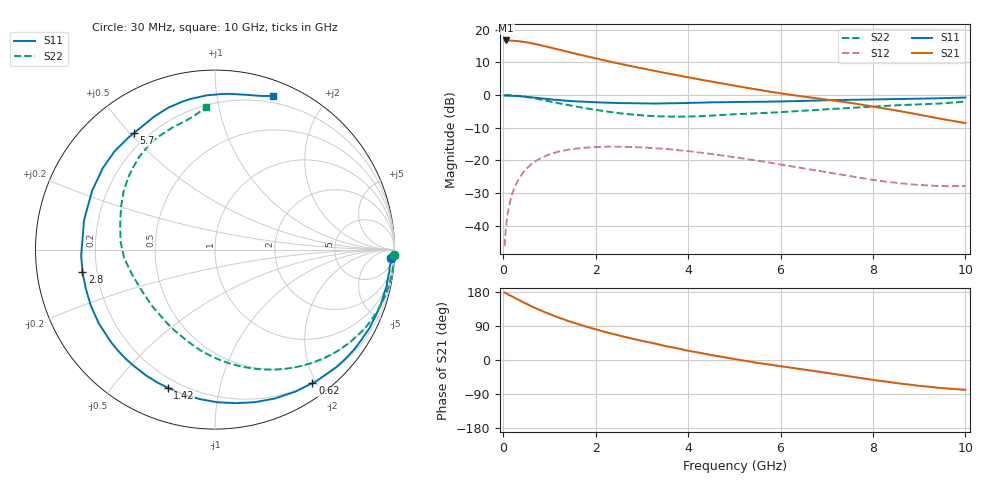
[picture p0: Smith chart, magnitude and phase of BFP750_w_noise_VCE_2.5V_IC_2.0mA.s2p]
! Infineon Technologies  Discrete & RF Semiconductors
! BFP750
! VCE =  2.5 V,  IC =  2.0 mA
! Common Emitter S-Parameters:  Jan 2016
# GHz  S  MA  R  50
!  f  S11  S21  S12  S22
! GHz  MAG  ANG  MAG  ANG  MAG  ANG  MAG  ANG
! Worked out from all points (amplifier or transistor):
!   229 points, 30 MHz to 10 GHz, reference 50 ohm
!   highest |S21| = 16.7 dB at 60 MHz (marker M1)
!   |S21| within 3 dB of that: start of sweep to 1.263 GHz
!   unconditionally stable (mu >= 1): 5.974 GHz to end of sweep
!   at 280 MHz: K = 0.03, MSG = 21.9 dB, |S12| = -27.2 dB
!   at 1.78 GHz: K = 0.18, MSG = 14.0 dB, |S12| = -16.1 dB
!   at 10 GHz: K = 1.70, MAG = 4.8 dB, |S12| = -27.8 dB
!   lowest NFmin = 0.61 dB at 450 MHz
!   S11 on the Smith chart (normalised r, x): 30 MHz: 17, -37; 620 MHz: 0.20, -1.95; 1.42 GHz: 0.15, -0.70; 2.8 GHz: 0.14, -0.08; 5.7 GHz: 0.15, +0.51; 10 GHz: 0.14, +1.44
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0.03  0.9797 -2.6  6.75 178.0  0.0049 88.7  0.999 -1.8
0.06  0.979 -5.3  6.817 175.9  0.0096 86.3  0.9989 -3.6
0.155  0.9743 -13.9  6.789 170.0  0.0246 80.6  0.9929 -9.3
0.3  0.9657 -26.9  6.681 160.8  0.0466 72.4  0.9757 -17.9
0.45  0.9481 -39.8  6.478 151.3  0.0678 63.7  0.9473 -26.6
0.62  0.9207 -53.9  6.157 141.2  0.0888 54.3  0.9051 -35.8
0.8  0.8944 -68.0  5.797 131.3  0.1075 45.2  0.8559 -45.2
1  0.8632 -82.4  5.361 121.1  0.1239 36.1  0.8003 -54.6
1.2  0.8373 -95.7  4.951 111.8  0.1364 27.7  0.7483 -63.3
1.42  0.813 -108.9  4.528 102.4  0.1463 19.5  0.6969 -72.0
1.7  0.7916 -124.2  4.064 91.6  0.1551 10.2  0.642 -82.1
1.96  0.7767 -136.9  3.679 82.3  0.1598 2.4  0.5992 -90.9
2.2  0.7669 -147.7  3.373 74.2  0.1622 -4.5  0.5653 -98.6
2.8  0.7485 -170.6  2.729 56.0  0.1606 -19.7  0.5028 -117.0
3.4  0.7434 170.3  2.244 40.0  0.1519 -32.8  0.472 -135.2
4  0.7592 154.3  1.87 24.4  0.139 -44.7  0.4689 -152.5
4.5  0.7726 144.0  1.606 13.0  0.1256 -52.9  0.485 -164.7
5.1  0.7833 133.9  1.353 0.5  0.1097 -60.7  0.5113 -176.9
5.7  0.7908 124.8  1.146 -11.0  0.0943 -67.0  0.5337 171.0
6.8  0.8238 110.9  0.887 -30.3  0.0699 -73.1  0.5923 150.2
8.4  0.8679 87.4  0.597 -59.1  0.0463 -68.6  0.6923 121.4
10  0.9152 69.4  0.372 -78.7  0.0406 -52.6  0.7938 93.7
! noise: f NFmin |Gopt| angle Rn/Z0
0.45  0.61  0.56  1  0.26
0.9  0.69  0.53  35  0.2
1.5  0.83  0.46  73  0.16
1.9  0.94  0.43  94  0.13
2.4  1.1  0.41  119  0.13
3.5  1.68  0.43  163  0.08
